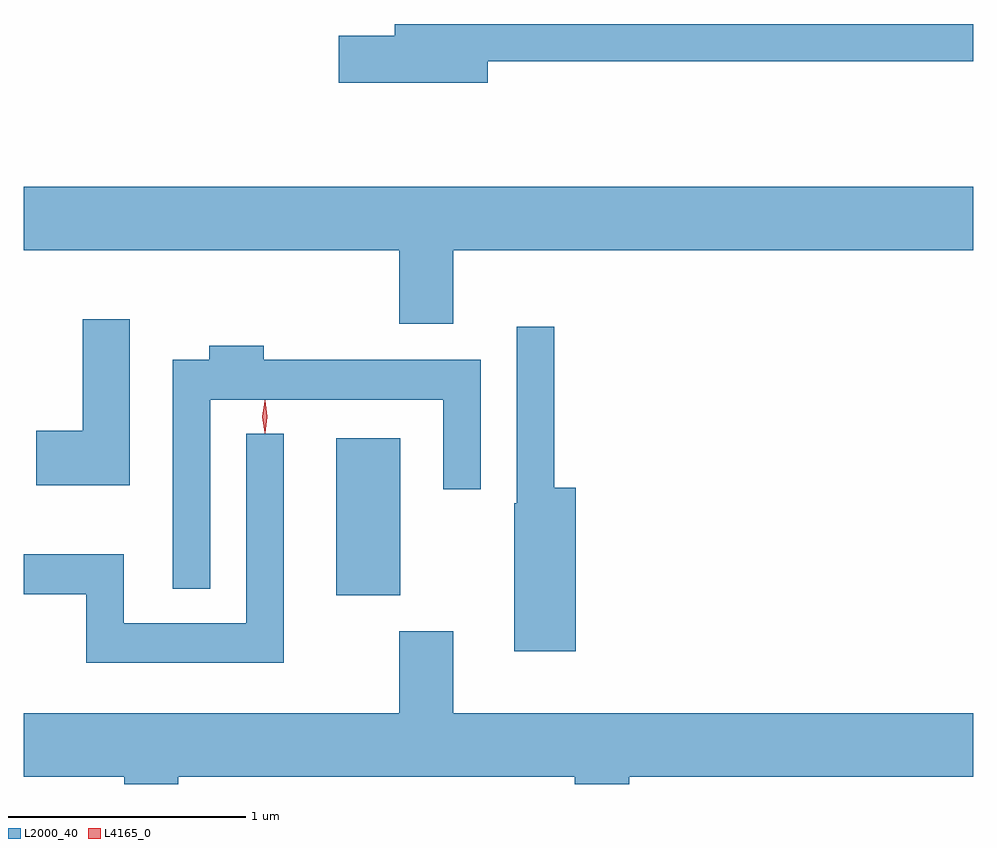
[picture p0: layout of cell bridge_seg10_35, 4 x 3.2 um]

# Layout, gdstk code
import gdstk
lib = gdstk.Library(unit=1e-6, precision=1e-09)
def R(c, l, rs):  # rectangles x0, y0, x1, y1
    for r in rs: c.add(gdstk.rectangle(r[:2], r[2:], *l))
def P(c, l, *ps):  # polygons
    for p in ps: c.add(gdstk.Polygon(p, *l))
L2000_40 = (2000, 40)
L4165_0 = (4165, 0)

bridge_seg10_35 = lib.new_cell('bridge_seg10_35')
R(bridge_seg10_35, L2000_40, [(1590.916,2163.521,1591.184,2164.184)])
P(bridge_seg10_35, L2000_40, [(1591.554,2165.771),(1593.599,2165.771),(1593.599,2165.929),(1591.161,2165.929),(1591.161,2165.879),(1590.926,2165.879),(1590.926,2165.681),(1591.554,2165.681)],
  [(1591.409,2164.976),(1593.599,2164.976),(1593.599,2165.244),(1589.599,2165.244),(1589.599,2164.976),(1591.181,2164.976),(1591.181,2164.666),(1591.409,2164.666)],
  [(1590.044,2164.684),(1589.846,2164.684),(1589.846,2164.214),(1589.651,2164.214),(1589.651,2163.986),(1590.044,2163.986)],
  [(1591.924,2163.974),(1591.834,2163.974),(1591.834,2164.653),(1591.676,2164.653),(1591.676,2163.91),(1591.666,2163.91),(1591.666,2163.286),(1591.924,2163.286)],
  [(1590.384,2164.346),(1591.366,2164.346),(1591.366,2163.968),(1591.524,2163.968),(1591.524,2164.514),(1590.609,2164.514),(1590.609,2164.574),(1590.381,2164.574),(1590.381,2164.514),(1590.226,2164.514),(1590.226,2163.548),(1590.384,2163.548)],
  [(1590.694,2164.203),(1590.536,2164.203),(1590.536,2163.404),(1590.019,2163.404),(1590.019,2163.694),(1589.599,2163.694),(1589.599,2163.526),(1589.861,2163.526),(1589.861,2163.236),(1590.694,2163.236)],
  [(1590.249,2162.756),(1591.921,2162.756),(1591.921,2162.726),(1592.149,2162.726),(1592.149,2162.756),(1593.599,2162.756),(1593.599,2163.024),(1591.409,2163.024),(1591.409,2163.369),(1591.181,2163.369),(1591.181,2163.024),(1589.599,2163.024),(1589.599,2162.756),(1590.021,2162.756),(1590.021,2162.726),(1590.249,2162.726)])
P(bridge_seg10_35, L4165_0, [(1590.614,2164.204),(1590.605,2164.274),(1590.614,2164.343),(1590.615,2164.343),(1590.616,2164.343),(1590.625,2164.274),(1590.616,2164.204),(1590.615,2164.204)],
  [(1590.613,2164.207),(1590.604,2164.274),(1590.613,2164.34),(1590.614,2164.341),(1590.614,2164.34),(1590.624,2164.274),(1590.614,2164.207),(1590.614,2164.207)])

lib.write_gds('bridge_seg10_35.gds')
